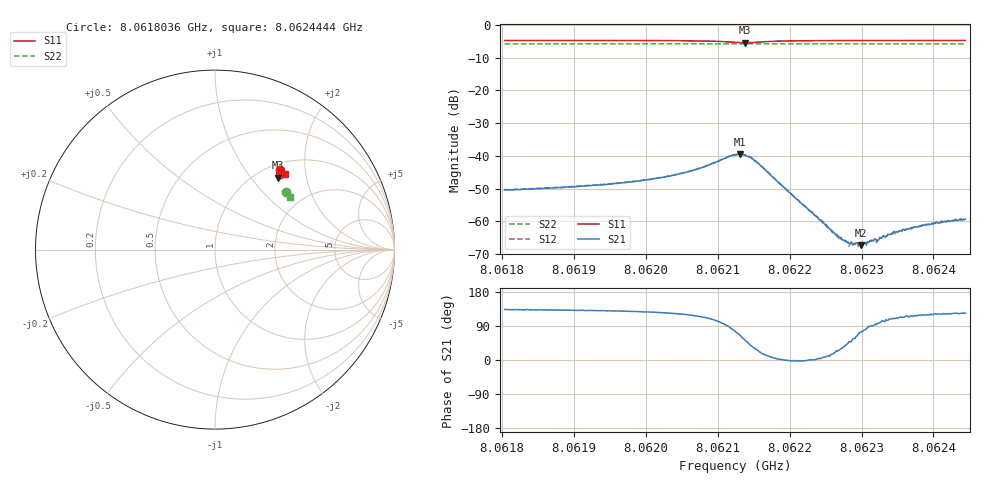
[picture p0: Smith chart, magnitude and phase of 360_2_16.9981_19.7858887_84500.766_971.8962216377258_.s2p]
#  HZ  S  RI  R  50.00
! Rohde & Schwarz Vector Network Analyzer
! Rohde-Schwarz,ZNB20-2Port,1311601062101988,3.16
! Created: UTC 3/20/2024, 11:08:12 PM
! freq[Hz]  re:S11  im:S11  re:S21  im:S21  re:S12  im:S12  re:S22  im:S22
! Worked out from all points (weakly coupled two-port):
!   401 points, 8.0618036 GHz to 8.0624444 GHz, reference 50 ohm
!   highest |S21| = -39.47 dB at 8.0621304 GHz (marker M1); lowest = -67.3 dB at 8.0622986 GHz (marker M2)
!   lowest |S11| = -5.5 dB at 8.0621384 GHz (marker M3), VSWR 3.26, Z = 61.4 + j68.5 ohm
!   |S11| at or under -10 dB: nowhere
!   |S22| runs from -5.9 to -5.8 dB; largest |S21 - S12| = 0.00074
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8.06180365e9  0.3645 0.446  -0.00207 0.00219  -0.00194 0.00235  0.3973 0.3236
8.06191098e9  0.3718 0.4395  -0.00226 0.0026  -0.00209 0.00279  0.4013 0.3183
8.06196865e9  0.3761 0.4351  -0.00245 0.00303  -0.00225 0.00317  0.4035 0.3153
8.0620183e9  0.3803 0.4297  -0.00267 0.00373  -0.00244 0.00396  0.4053 0.3128
8.06206796e9  0.3845 0.42  -0.00276 0.00545  -0.00247 0.00564  0.4071 0.3098
8.06212403e9  0.3664 0.394  0.00244 0.01  0.00303 0.00995  0.4078 0.3063
8.06213044e9  0.3581 0.3947  0.00438 0.00969  0.00488 0.00949  0.4077 0.306
8.06213845e9  0.3486 0.4004  0.00653 0.00799  0.00695 0.0077  0.4076 0.3062
8.06214646e9  0.3435 0.41  0.00739 0.00567  0.00773 0.00545  0.4077 0.3063
8.06215447e9  0.3435 0.4194  0.00711 0.00359  0.00741 0.0031  0.4081 0.3064
8.06223136e9  0.372 0.4349  0.00137 -1.14e-05  0.0014 -7.61e-05  0.4122 0.3029
8.06225379e9  0.3757 0.4334  0.000796 0.00016  0.000794 0.000102  0.4132 0.3018
8.0622666e9  0.3776 0.4326  0.000571 0.000244  0.000544 0.00019  0.4135 0.3011
8.06227301e9  0.3783 0.4321  0.000453 0.000275  0.000472 0.000223  0.4139 0.3007
8.06228422e9  0.3797 0.4314  0.000307 0.000348  0.000342 0.000297  0.4142 0.3001
8.06228903e9  0.3802 0.4312  0.00025 0.000374  0.000262 0.000358  0.4145 0.3
8.06229864e9  0.3812 0.4304  0.000126 0.000413  0.000176 0.000408  0.4149 0.2995
8.06231947e9  0.3832 0.4292  -4.67e-05 0.000538  -3.4e-05 0.000531  0.4156 0.2984
8.06233869e9  0.3849 0.4279  -0.000197 0.000606  -0.000169 0.000628  0.4163 0.2972
8.0623467e9  0.3855 0.4275  -0.000227 0.000643  -0.00019 0.000618  0.4166 0.297
8.06238835e9  0.3887 0.4251  -0.000417 0.000775  -0.000373 0.00081  0.4181 0.2948
8.06244442e9  0.3926 0.4218  -0.000602 0.000909  -0.000568 0.000982  0.4201 0.2917
